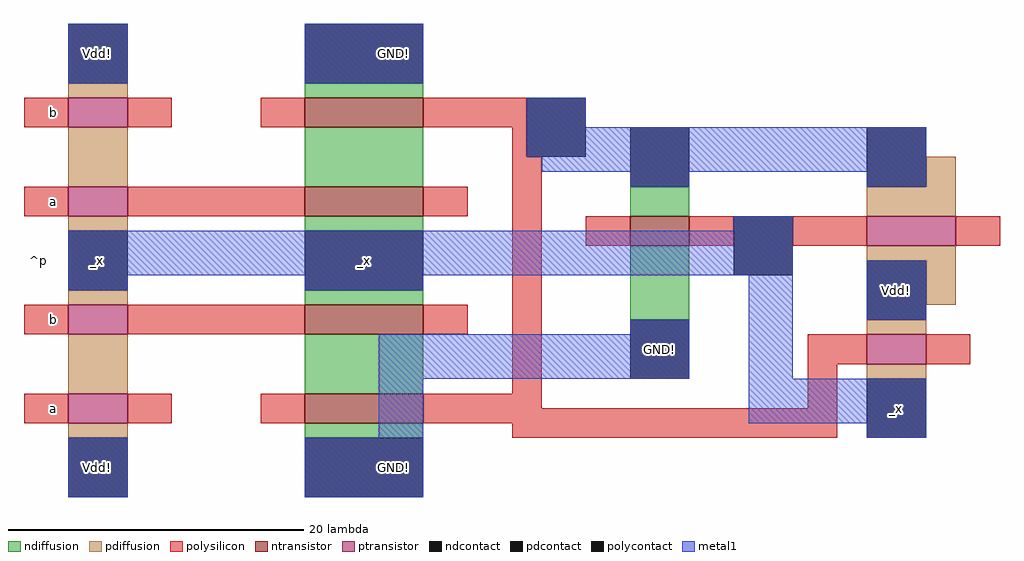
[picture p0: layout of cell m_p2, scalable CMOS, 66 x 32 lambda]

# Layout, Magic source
magic
tech scmos
<< ndiffusion >>
rect 18 7 26 8
rect 18 1 26 5
rect 18 -2 26 -1
rect 18 -7 26 -6
rect 18 -13 26 -9
rect 40 -1 44 1
rect 40 -8 44 -3
rect 18 -16 26 -15
<< pdiffusion >>
rect 2 7 6 8
rect 2 1 6 5
rect 2 -2 6 -1
rect 2 -7 6 -6
rect 2 -13 6 -9
rect 60 1 62 3
rect 56 -1 62 1
rect 56 -4 62 -3
rect 60 -7 62 -4
rect 56 -9 60 -8
rect 2 -16 6 -15
rect 56 -12 60 -11
<< ntransistor >>
rect 18 5 26 7
rect 18 -1 26 1
rect 18 -9 26 -7
rect 40 -3 44 -1
rect 18 -15 26 -13
<< ptransistor >>
rect 2 5 6 7
rect 2 -1 6 1
rect 2 -9 6 -7
rect 56 -3 62 -1
rect 56 -11 60 -9
rect 2 -15 6 -13
<< polysilicon >>
rect -1 5 2 7
rect 6 5 9 7
rect 15 5 18 7
rect 26 5 33 7
rect 32 3 33 5
rect -1 -1 2 1
rect 6 -1 18 1
rect 26 -1 29 1
rect -1 -9 2 -7
rect 6 -9 18 -7
rect 26 -9 29 -7
rect 32 -13 34 3
rect 37 -3 40 -1
rect 44 -3 47 -1
rect 51 -3 56 -1
rect 62 -3 65 -1
rect 52 -11 56 -9
rect 60 -11 63 -9
rect -1 -15 2 -13
rect 6 -15 9 -13
rect 15 -15 18 -13
rect 26 -14 34 -13
rect 52 -14 54 -11
rect 26 -15 54 -14
rect 32 -16 54 -15
<< ndcontact >>
rect 18 8 26 12
rect 18 -6 26 -2
rect 40 1 44 5
rect 40 -12 44 -8
rect 18 -20 26 -16
<< pdcontact >>
rect 2 8 6 12
rect 2 -6 6 -2
rect 56 1 60 5
rect 56 -8 60 -4
rect 2 -20 6 -16
rect 56 -16 60 -12
<< polycontact >>
rect 33 3 37 7
rect 47 -5 51 -1
<< metal1 >>
rect 2 8 6 12
rect 18 8 26 12
rect 33 5 37 7
rect 33 3 60 5
rect 34 2 60 3
rect 40 1 44 2
rect 56 1 60 2
rect 47 -2 51 -1
rect 2 -5 51 -2
rect 2 -6 6 -5
rect 18 -6 26 -5
rect 40 -9 44 -8
rect 23 -12 44 -9
rect 48 -12 51 -5
rect 56 -8 60 -4
rect 23 -16 26 -12
rect 48 -15 60 -12
rect 56 -16 60 -15
rect 2 -20 6 -16
rect 18 -20 26 -16
<< labels >>
rlabel polysilicon 1 6 1 6 3 b
rlabel polysilicon 1 0 1 0 3 a
rlabel polysilicon 1 -8 1 -8 3 b
rlabel polysilicon 1 -14 1 -14 3 a
rlabel space -2 -21 2 13 7 ^p
rlabel pdcontact 4 -18 4 -18 1 Vdd!
rlabel pdcontact 4 -4 4 -4 1 _x
rlabel pdcontact 4 10 4 10 5 Vdd!
rlabel ndcontact 24 -18 24 -18 1 GND!
rlabel ndcontact 22 -4 22 -4 5 _x
rlabel ndcontact 24 10 24 10 5 GND!
rlabel pdcontact 58 -14 58 -14 2 _x
rlabel pdcontact 58 -6 58 -6 1 Vdd!
rlabel ndcontact 42 -10 42 -10 1 GND!
<< end >>
